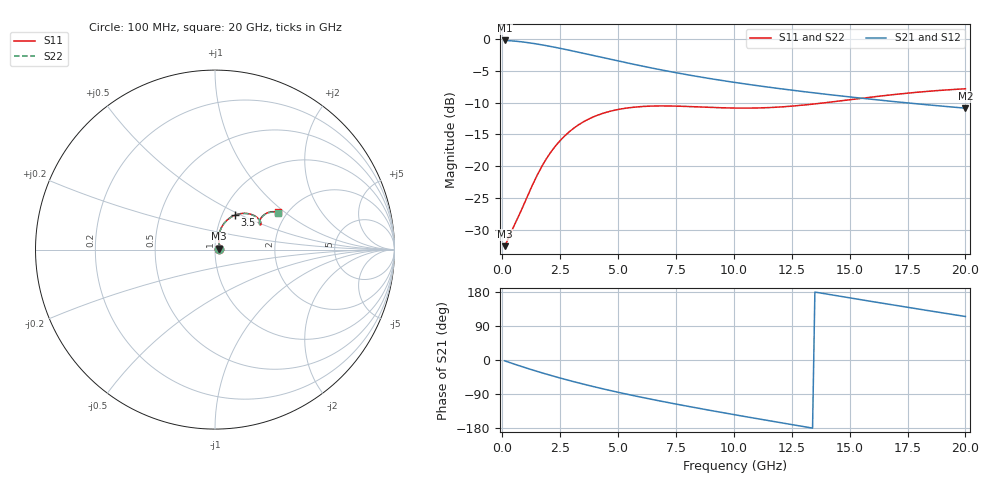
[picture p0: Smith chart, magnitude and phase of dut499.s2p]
! Touchstone file exported from HFSS 2024.1.0
!  File:  C:/UserFiles/LocalFiles/RDL_TSV_Batchsim/temp_RDL_TSV_499_1779736858.aedt
!  Generated:  03:37:18 AM May 26, 2026
!  Design:  RDL_TSV
!  Project:  temp_RDL_TSV_499_1779736858
!  Setup:  Setup1
!  Solution:  Sweep
! Variables:
!  dtsv = 11.81um
!  hbump = 3um
!  htsv = 54.25um
!  ldown = 578.91um
!  lrdl = 512.98um
!  p = 40
!  p1 = 53um
!  rhole = 10um
!  subl = 3788.65um
!  t = 450um
!  tdown = 2.48um
!  trdl = 3.29um
!  viad = 10um
!  wdown = 29.09um
!  wrdl = 15.54um
!  xbump = 18um
# GHz S MA R 50.000000
! Terminal data exported
! Port[1] = TM1_1_T1
! Port[2] = TM1_4_T1
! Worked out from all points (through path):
!   200 points, 100 MHz to 20 GHz, reference 50 ohm
!   highest |S21| = -0.20 dB at 100 MHz (marker M1); lowest = -10.9 dB at 20 GHz (marker M2)
!   group delay of S21, straight-line fit = 32.2 ps
!   lowest |S11| = -32.6 dB at 100 MHz (marker M3), VSWR 1.05, Z = 52.3 + j0.553 ohm
!   |S11| at or under -10 dB: start of sweep to 13.98 GHz
!   |S22| runs from -32.6 to -7.9 dB; largest |S21 - S12| = 8.1e-15
!   S11 on the Smith chart (normalised r, x): 100 MHz: 1.05, +0.01; 3.5 GHz: 1.15, +0.47; 20 GHz: 1.79, +0.89
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0.1  0.02342 13.0  0.9768 -2.1  0.9768 -2.1  0.02342 13.0
! Gamma 0 0 0 0
! Port Impedance 50 0 50 0
0.5  0.03362 44.4  0.9666 -10.5  0.9666 -10.5  0.03363 44.4
0.9  0.0484 62.9  0.9499 -18.5  0.9499 -18.5  0.0484 62.8
1.4  0.07744 73.7  0.922 -28.1  0.922 -28.1  0.07738 73.6
1.9  0.1139 74.7  0.8891 -37.2  0.8891 -37.2  0.1137 74.6
2.2  0.1367 73.0  0.8681 -42.5  0.8681 -42.5  0.1365 72.9
2.6  0.1663 69.4  0.8393 -49.3  0.8393 -49.3  0.166 69.3
3  0.1935 65.2  0.8102 -55.8  0.8102 -55.8  0.1931 65.1
3.5  0.223 59.7  0.7742 -63.7  0.7742 -63.7  0.2226 59.6
4.2  0.2552 52.3  0.7255 -74.0  0.7255 -74.0  0.2546 52.2
5.1  0.2815 44.2  0.6676 -86.5  0.6676 -86.5  0.2808 44.1
5.9  0.2935 38.4  0.6215 -97.0  0.6215 -97.0  0.2927 38.3
6.8  0.2979 33.6  0.5757 -108.0  0.5757 -108.0  0.297 33.5
7.6  0.2966 30.7  0.5402 -117.5  0.5402 -117.5  0.2958 30.6
8.4  0.2931 29.0  0.5091 -126.5  0.5091 -126.5  0.2922 28.9
10.1  0.2865 28.9  0.4545 -145.2  0.4545 -145.2  0.2856 28.8
11.7  0.2902 31.4  0.414 -162.1  0.414 -162.1  0.2892 31.3
13.4  0.3077 34.2  0.3788 -179.7  0.3788 -179.7  0.3066 34.0
15.1  0.3349 35.4  0.3492 163.0  0.3492 163.0  0.3335 35.2
16.7  0.3627 34.8  0.3253 147.0  0.3253 147.0  0.3609 34.6
18.3  0.3872 33.0  0.3048 131.3  0.3048 131.3  0.385 32.9
20  0.4066 30.6  0.2862 114.8  0.2862 114.8  0.404 30.4
